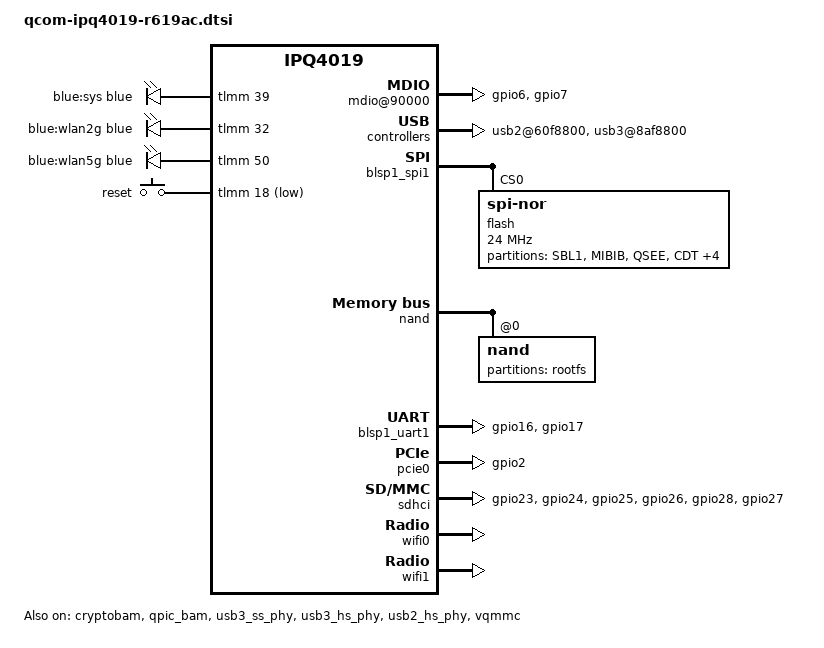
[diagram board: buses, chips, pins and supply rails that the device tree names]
// SPDX-License-Identifier: GPL-2.0-or-later OR MIT

#include "qcom-ipq4019.dtsi"
#include <dt-bindings/gpio/gpio.h>
#include <dt-bindings/input/input.h>
#include <dt-bindings/soc/qcom,tcsr.h>
#include <dt-bindings/leds/common.h>

/ {
	aliases {
		led-boot = &led_sys;
		led-failsafe = &led_sys;
		led-running = &led_sys;
		led-upgrade = &led_sys;
		label-mac-device = &gmac0;
	};

	chosen {
		bootargs-append = " root=/dev/ubiblock0_1";
	};

	soc {
		rng@22000 {
			status = "okay";
		};

		mdio@90000 {
			status = "okay";
			pinctrl-0 = <&mdio_pins>;
			pinctrl-names = "default";
		};

		ess-psgmii@98000 {
			status = "okay";
		};

		tcsr@1949000 {
			compatible = "qcom,tcsr";
			reg = <0x1949000 0x100>;
			qcom,wifi_glb_cfg = <TCSR_WIFI_GLB_CFG>;
		};

		tcsr@194b000 {
			compatible = "qcom,tcsr";
			reg = <0x194b000 0x100>;
			qcom,usb-hsphy-mode-select = <TCSR_USB_HSPHY_HOST_MODE>;
		};

		ess_tcsr@1953000 {
			compatible = "qcom,tcsr";
			reg = <0x1953000 0x1000>;
			qcom,ess-interface-select = <TCSR_ESS_PSGMII>;
		};

		tcsr@1957000 {
			compatible = "qcom,tcsr";
			reg = <0x1957000 0x100>;
			qcom,wifi_noc_memtype_m0_m2 = <TCSR_WIFI_NOC_MEMTYPE_M0_M2>;
		};

		usb2@60f8800 {
			status = "okay";
		};

		usb3@8af8800 {
			status = "okay";
		};

		crypto@8e3a000 {
			status = "okay";
		};

		watchdog@b017000 {
			status = "okay";
		};

		ess-switch@c000000 {
			status = "okay";
		};

		edma@c080000 {
			status = "okay";
		};
	};

	leds {
		compatible = "gpio-leds";

		led_sys: led-0 {
			label = "blue:sys";
			gpios = <&tlmm 39 GPIO_ACTIVE_HIGH>;
			color = <LED_COLOR_ID_BLUE>;
			function = LED_FUNCTION_POWER;
		};

		led-1 {
			label = "blue:wlan2g";
			gpios = <&tlmm 32 GPIO_ACTIVE_HIGH>;
			linux,default-trigger = "phy0tpt";
			color = <LED_COLOR_ID_BLUE>;
			function = LED_FUNCTION_WLAN;
			function-enumerator = <0>;
		};

		led-2 {
			label = "blue:wlan5g";
			gpios = <&tlmm 50 GPIO_ACTIVE_HIGH>;
			linux,default-trigger = "phy1tpt";
			color = <LED_COLOR_ID_BLUE>;
			function = LED_FUNCTION_WLAN;
			function-enumerator = <1>;
		};
	};

	keys {
		compatible = "gpio-keys";

		reset {
			label = "reset";
			gpios = <&tlmm 18 GPIO_ACTIVE_LOW>;
			linux,code = <KEY_RESTART>;
		};
	};
};

&blsp_dma {
	status = "okay";
};

&blsp1_spi1 {
	status = "okay";

	flash@0 {
		reg = <0>;
		compatible = "jedec,spi-nor";
		spi-max-frequency = <24000000>;

		partitions {
			compatible = "fixed-partitions";
			#address-cells = <1>;
			#size-cells = <1>;

			partition@0 {
				label = "SBL1";
				reg = <0x0 0x40000>;
				read-only;
			};

			partition@40000 {
				label = "MIBIB";
				reg = <0x40000 0x20000>;
				read-only;
			};

			partition@60000 {
				label = "QSEE";
				reg = <0x60000 0x60000>;
				read-only;
			};

			partition@c0000 {
				label = "CDT";
				reg = <0xc0000 0x10000>;
				read-only;
			};

			partition@d0000 {
				label = "DDRPARAMS";
				reg = <0xd0000 0x10000>;
				read-only;
			};

			partition@e0000 {
				label = "APPSBLENV";
				reg = <0xe0000 0x10000>;
				read-only;
			};

			partition@f0000 {
				label = "APPSBL";
				reg = <0xf0000 0x80000>;
				read-only;
			};

			partition@170000 {
				label = "ART";
				reg = <0x170000 0x10000>;
				read-only;
				compatible = "nvmem-cells";
				#address-cells = <1>;
				#size-cells = <1>;

				precal_art_1000: precal@1000 {
					reg = <0x1000 0x2f20>;
				};

				precal_art_5000: precal@5000 {
					reg = <0x5000 0x2f20>;
				};
			};
		};
	};
};

&nand {
	status = "okay";

	nand@0 {
		partitions {
			compatible = "fixed-partitions";
			#address-cells = <1>;
			#size-cells = <1>;

			nand_rootfs: partition@0 {
				label = "rootfs";
				/* reg defined in 64M/128M variant dts. */
			};
		};
	};
};

&blsp1_uart1 {
	pinctrl-0 = <&serial_0_pins>;
	pinctrl-names = "default";
	status = "okay";
};

&cryptobam {
	status = "okay";
};

&pcie0 {
	status = "okay";
	pinctrl-names = "default";
	pinctrl-0 = <&pcie_pins>;
	perst-gpio = <&tlmm 4 GPIO_ACTIVE_LOW>;
	wake-gpio = <&tlmm 40 GPIO_ACTIVE_HIGH>;

	/* Free slot for use */
	bridge@0,0 {
		reg = <0x00000000 0 0 0 0>;
		#address-cells = <3>;
		#size-cells = <2>;
		ranges;
	};
};

&qpic_bam {
	status = "okay";
};

&sdhci {
	pinctrl-0 = <&sd_0_pins>;
	pinctrl-names = "default";
	vqmmc-supply = <&vqmmc>;
	status = "okay";
};

&tlmm {
	pcie_pins: pcie_pinmux {
		mux {
			pins = "gpio2";
			function = "gpio";
			output-low;
			bias-pull-down;
		};
	};

	mdio_pins: mdio_pinmux {
		mux_1 {
			pins = "gpio6";
			function = "mdio";
			bias-pull-up;
		};

		mux_2 {
			pins = "gpio7";
			function = "mdc";
			bias-pull-up;
		};
	};

	sd_0_pins: sd_0_pinmux {
		mux_1 {
			pins = "gpio23", "gpio24", "gpio25", "gpio26", "gpio28";
			function = "sdio";
			drive-strength = <10>;
		};

		mux_2 {
			pins = "gpio27";
			function = "sdio";
			drive-strength = <16>;
		};
	};

	serial_0_pins: serial0-pinmux {
		mux {
			pins = "gpio16", "gpio17";
			function = "blsp_uart0";
			bias-disable;
		};
	};
};

&ethphy0 {
	qcom,single-led-1000;
	qcom,single-led-100;
	qcom,single-led-10;
};

&ethphy1 {
	qcom,single-led-1000;
	qcom,single-led-100;
	qcom,single-led-10;
};

&ethphy2 {
	qcom,single-led-1000;
	qcom,single-led-100;
	qcom,single-led-10;
};

&ethphy3 {
	qcom,single-led-1000;
	qcom,single-led-100;
	qcom,single-led-10;
};

&ethphy4 {
	qcom,single-led-1000;
	qcom,single-led-100;
	qcom,single-led-10;
};

&usb3_ss_phy {
	status = "okay";
};

&usb3_hs_phy {
	status = "okay";
};

&usb2_hs_phy {
	status = "okay";
};

&vqmmc {
	status = "okay";
};

&wifi0 {
	status = "okay";
	nvmem-cell-names = "pre-calibration";
	nvmem-cells = <&precal_art_1000>;
	qcom,ath10k-calibration-variant = "P&W-R619AC";
};

&wifi1 {
	status = "okay";
	nvmem-cell-names = "pre-calibration";
	nvmem-cells = <&precal_art_5000>;
	qcom,ath10k-calibration-variant = "P&W-R619AC";
};
